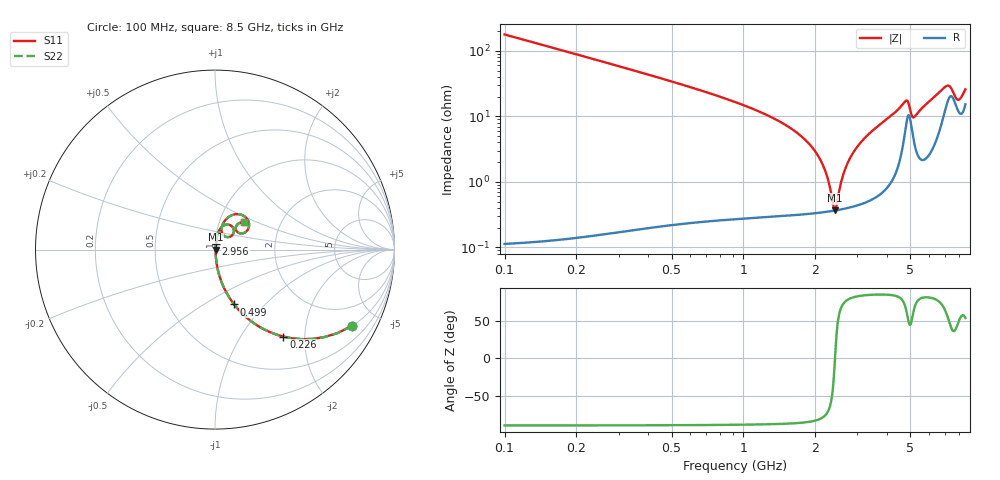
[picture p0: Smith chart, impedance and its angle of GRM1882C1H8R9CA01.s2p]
!Murata Part Number: GRM1882C1H8R9CA01
!These Parameters are Measured in Series Mode Connection
!Data Generated on Mar 30, 2021
!  o--ll--o
!Port1  Port2
!  o------o
!Operation Temp=25[degC], DC Bias Voltage=0[V]
!Freq. Start=100[MHz] Stop=9[GHz] 401[Steps]
# Hz S RI R 50
!Freq.(Hz) S11(Real) S11(Imag) S21(Real) S21(Imag) S12(Real) S12(Imag) S22(Real) S22(Imag)
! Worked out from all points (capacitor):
!   401 points, 100 MHz to 8.5 GHz, reference 50 ohm
!   read as one part in series: C = 8.91 pF near 142 MHz
!   lowest |Z| = 367 mohm at 2.41 GHz (marker M1)
!   series resonance near 2.418 GHz, so ESL is about 490 pH
!   S11 on the Smith chart (normalised r, x): 100 MHz: 1.00, -3.57; 226 MHz: 1.00, -1.57; 499 MHz: 1.00, -0.69; 2.956 GHz: 1.01, +0.06; 8.5 GHz: 1.31, +0.42
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1e8  0.761 -0.4262  0.239 0.4262  0.239 0.4262  0.761 -0.4262
2.26e8  0.3808 -0.4846  0.6192 0.4846  0.6192 0.4846  0.3808 -0.4846
3.31e8  0.2198 -0.4124  0.7802 0.4124  0.7802 0.4124  0.2198 -0.4124
4.99e8  0.1067 -0.3055  0.8933 0.3055  0.8933 0.3055  0.1067 -0.3055
8.98e8  0.0311 -0.1661  0.9689 0.1661  0.9689 0.1661  0.0311 -0.1661
1.507e9  0.00831 -0.0724  0.9917 0.0724  0.9917 0.0724  0.00831 -0.0724
1.864e9  0.00477 -0.0393  0.9952 0.0393  0.9952 0.0393  0.00477 -0.0393
2.095e9  0.00384 -0.0216  0.9962 0.0216  0.9962 0.0216  0.00384 -0.0216
2.242e9  0.00362 -0.0114  0.9964 0.0114  0.9964 0.0114  0.00362 -0.0114
2.41e9  0.00363 -0.000474  0.9964 0.000474  0.9964 0.000474  0.00363 -0.000474
2.452e9  0.00367 0.00216  0.9963 -0.00216  0.9963 -0.00216  0.00367 0.00216
2.641e9  0.00405 0.0136  0.996 -0.0136  0.996 -0.0136  0.00405 0.0136
2.914e9  0.00507 0.0292  0.9949 -0.0292  0.9949 -0.0292  0.00507 0.0292
2.956e9  0.00528 0.0315  0.9947 -0.0315  0.9947 -0.0315  0.00528 0.0315
3.439e9  0.00865 0.0577  0.9913 -0.0577  0.9913 -0.0577  0.00865 0.0577
4.3e9  0.0245 0.1091  0.9755 -0.1091  0.9755 -0.1091  0.0245 0.1091
4.804e9  0.09 0.1328  0.91 -0.1328  0.91 -0.1328  0.09 0.1328
5.14e9  0.0513 0.0762  0.9487 -0.0762  0.9487 -0.0762  0.0513 0.0762
5.707e9  0.0399 0.1336  0.9601 -0.1336  0.9601 -0.1336  0.0399 0.1336
7.114e9  0.173 0.1781  0.827 -0.1781  0.827 -0.1781  0.173 0.1781
7.891e9  0.123 0.0998  0.877 -0.0998  0.877 -0.0998  0.123 0.0998
8.5e9  0.1602 0.1521  0.8398 -0.1521  0.8398 -0.1521  0.1602 0.1521
